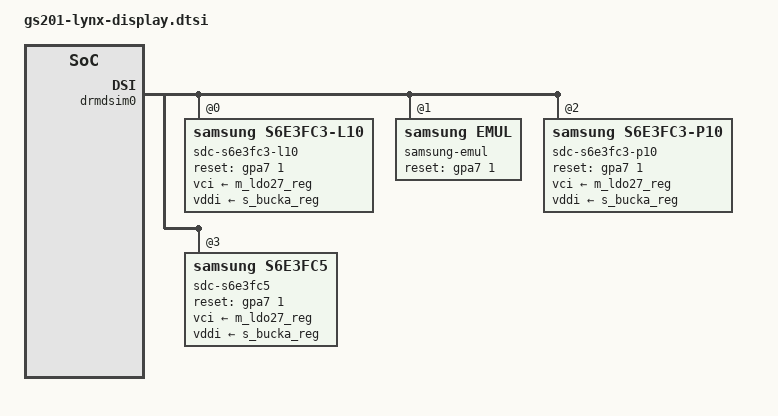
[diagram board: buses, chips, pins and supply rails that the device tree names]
// SPDX-License-Identifier: GPL-2.0-only
/*
 * Display nodes for slider-related boards.
 *
 * Copyright 2021 Google LLC
 *
 */

&drmdsim0 {
	sdc_s6e3fc3_l10: panel@0 {
		compatible = "samsung,s6e3fc3-l10";
		label = "sdc-s6e3fc3-l10";
		channel = <0>;

		/* reset, power */
		reset-gpios = <&gpa7 1 GPIO_ACTIVE_HIGH>;
		vci-supply = <&m_ldo27_reg>;
		vddi-supply = <&s_bucka_reg>;
		touch = <&spitouch>;
	};
	panel@1 {
		compatible = "samsung,emul";
		label = "samsung-emul";
		channel = <0>;

		/* reset, power */
		reset-gpios = <&gpa7 1 GPIO_ACTIVE_HIGH>;
	};
	sdc_s6e3fc3_p10: panel@2 {
		compatible = "samsung,s6e3fc3-p10";
		label = "sdc-s6e3fc3-p10";
		channel = <0>;

		/* reset, power */
		reset-gpios = <&gpa7 1 GPIO_ACTIVE_HIGH>;
		vci-supply = <&m_ldo27_reg>;
		vddi-supply = <&s_bucka_reg>;
		touch = <&spitouch>;
	};
	sdc_s6e3fc5: panel@3 {
		compatible = "samsung,s6e3fc5";
		label = "sdc-s6e3fc5";
		channel = <0>;

		/* reset, power */
		reset-gpios = <&gpa7 1 GPIO_ACTIVE_HIGH>;
		vci-supply = <&m_ldo27_reg>;
		vddi-supply = <&s_bucka_reg>;
		touch = <&spitouch>;
	};
};

&dsim_modes {
	dsim-modes {
		1080x2400 {
			mode-name = "1080x2400";
			pmsk = <
				0x2 0xB3 0x2 0x5CAB /* p m s k */
				>;
			hs-clk = <1102>;
			esc-clk = <20>;
		};
	};
};


